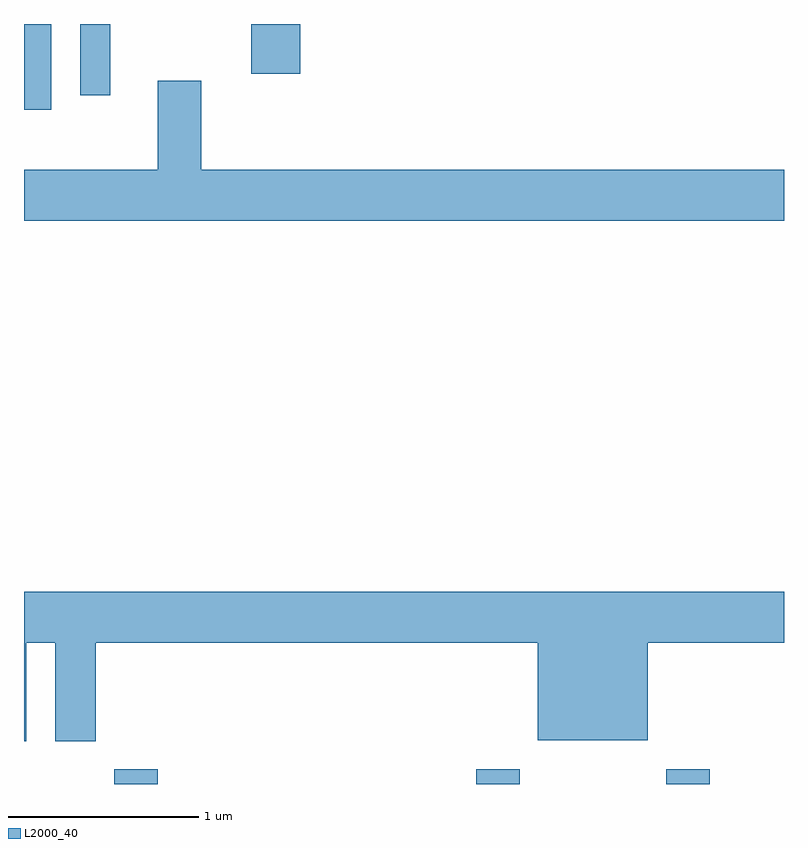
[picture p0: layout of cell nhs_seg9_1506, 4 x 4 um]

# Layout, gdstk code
import gdstk
lib = gdstk.Library(unit=1e-6, precision=1e-09)
def R(c, l, rs):  # rectangles x0, y0, x1, y1
    for r in rs: c.add(gdstk.rectangle(r[:2], r[2:], *l))
def P(c, l, *ps):  # polygons
    for p in ps: c.add(gdstk.Polygon(p, *l))
L2000_40 = (2000, 40)

nhs_seg9_1506 = lib.new_cell('nhs_seg9_1506')
R(nhs_seg9_1506, L2000_40, [(230.086,1964.432,230.314,1964.509), (231.991,1964.432,232.219,1964.509), (232.991,1964.432,233.219,1964.509), (229.611,1967.981,229.754,1968.432), (229.906,1968.058,230.064,1968.432), (230.806,1968.171,231.064,1968.432)])
P(nhs_seg9_1506, L2000_40, [(233.611,1967.664),(230.544,1967.664),(230.544,1968.134),(230.316,1968.134),(230.316,1967.664),(229.611,1967.664),(229.611,1967.396),(233.611,1967.396)],
  [(229.624,1965.176),(229.776,1965.176),(229.776,1964.656),(229.989,1964.656),(229.989,1965.176),(232.316,1965.176),(232.316,1964.661),(232.894,1964.661),(232.894,1965.176),(233.611,1965.176),(233.611,1965.444),(229.611,1965.444),(229.611,1964.656),(229.624,1964.656)])

lib.write_gds('nhs_seg9_1506.gds')
